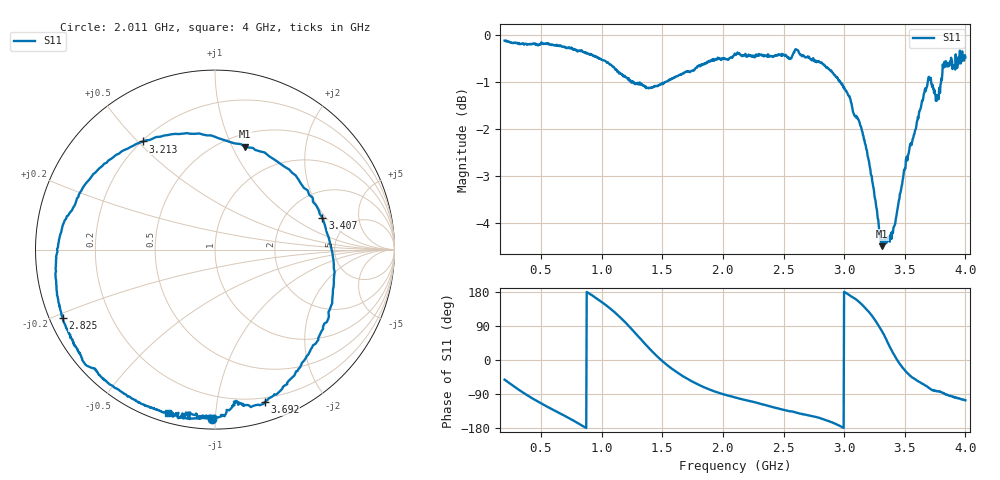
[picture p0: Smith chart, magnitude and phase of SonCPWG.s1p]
# MHz S MA R 50
!  freq  S11
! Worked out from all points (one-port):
!   1000 points, 200 MHz to 4 GHz, reference 50 ohm
!   lowest |S11| = -4.5 dB at 3.315 GHz (marker M1), VSWR 3.96, Z = 31.4 + j55.9 ohm
!   |S11| at or under -10 dB: nowhere
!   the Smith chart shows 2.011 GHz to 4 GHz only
!   S11 on the Smith chart (normalised r, x): 2.011 GHz: 0.06, -0.98; 2.825 GHz: 0.04, -0.21; 3.213 GHz: 0.21, +0.52; 3.407 GHz: 3.15, +1.85; 3.692 GHz: 0.16, -1.37; 4 GHz: 0.04, -0.75
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200  0.9854 -52.0
306.507  0.9798 -76.3
416.817  0.9766 -98.9
542.342  0.977 -121.7
675.475  0.9717 -144.0
820.02  0.9609 -169.4
937.938  0.949 167.1
1044.444  0.9333 142.5
1150.951  0.9112 113.2
1272.673  0.8865 72.7
1405.806  0.8783 26.3
1504.705  0.8859 -4.1
1626.426  0.9034 -33.5
1801.401  0.9267 -65.5
2010.611  0.9428 -91.0
2101.902  0.9537 -99.0
2577.377  0.953 -136.4
2824.625  0.9302 -155.8
3052.853  0.8533 169.0
3132.733  0.8009 150.7
3212.613  0.7232 123.5
3262.062  0.6602 102.1
3315.315  0.5964 73.9
3406.607  0.6243 16.6
3459.86  0.678 -10.6
3528.328  0.7462 -36.2
3691.892  0.8934 -72.0
4000  0.9457 -106.2
